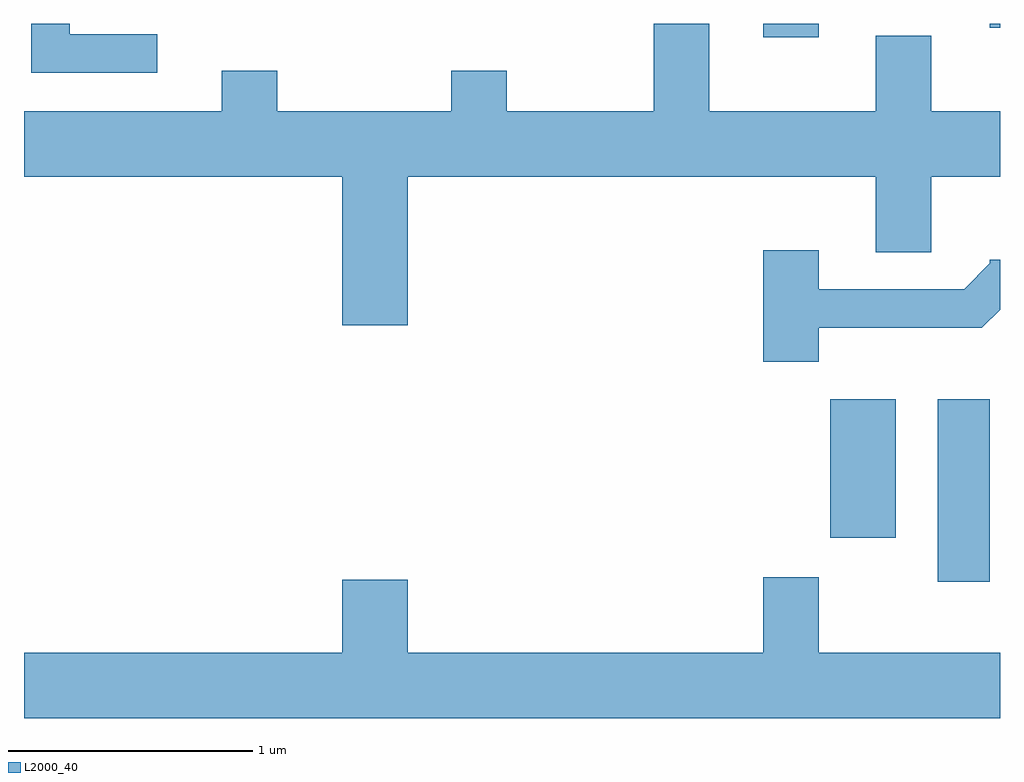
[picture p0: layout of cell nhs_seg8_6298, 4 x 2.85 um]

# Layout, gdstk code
import gdstk
lib = gdstk.Library(unit=1e-6, precision=1e-09)
def R(c, l, rs):  # rectangles x0, y0, x1, y1
    for r in rs: c.add(gdstk.rectangle(r[:2], r[2:], *l))
def P(c, l, *ps):  # polygons
    for p in ps: c.add(gdstk.Polygon(p, *l))
L2000_40 = (2000, 40)

nhs_seg8_6298 = lib.new_cell('nhs_seg8_6298')
R(nhs_seg8_6298, L2000_40, [(377.356,1868.056,377.569,1868.804), (376.916,1868.236,377.184,1868.804), (376.641,1870.286,376.869,1870.342)])
P(nhs_seg8_6298, L2000_40, [(375.184,1869.716),(377.101,1869.716),(377.101,1869.406),(377.329,1869.406),(377.329,1869.716),(377.611,1869.716),(377.611,1869.984),(377.329,1869.984),(377.329,1870.294),(377.101,1870.294),(377.101,1869.984),(376.419,1869.984),(376.419,1870.342),(376.191,1870.342),(376.191,1869.984),(375.589,1869.984),(375.589,1870.149),(375.361,1870.149),(375.361,1869.984),(374.649,1869.984),(374.649,1870.149),(374.421,1870.149),(374.421,1869.984),(373.611,1869.984),(373.611,1869.716),(374.916,1869.716),(374.916,1869.106),(375.184,1869.106)],
  [(377.611,1870.342),(377.568,1870.342),(377.57,1870.34),(377.57,1870.326),(377.611,1870.326)],
  [(374.158,1870.299),(373.799,1870.299),(373.799,1870.342),(373.641,1870.342),(373.641,1870.141),(374.158,1870.141)],
  [(376.869,1869.096),(377.537,1869.096),(377.611,1869.17),(377.611,1869.374),(377.57,1869.374),(377.57,1869.361),(377.464,1869.254),(376.869,1869.254),(376.869,1869.414),(376.641,1869.414),(376.641,1868.956),(376.869,1868.956)],
  [(377.611,1867.764),(376.869,1867.764),(376.869,1868.074),(376.641,1868.074),(376.641,1867.764),(375.184,1867.764),(375.184,1868.064),(374.916,1868.064),(374.916,1867.764),(373.611,1867.764),(373.611,1867.496),(377.611,1867.496)])

lib.write_gds('nhs_seg8_6298.gds')
